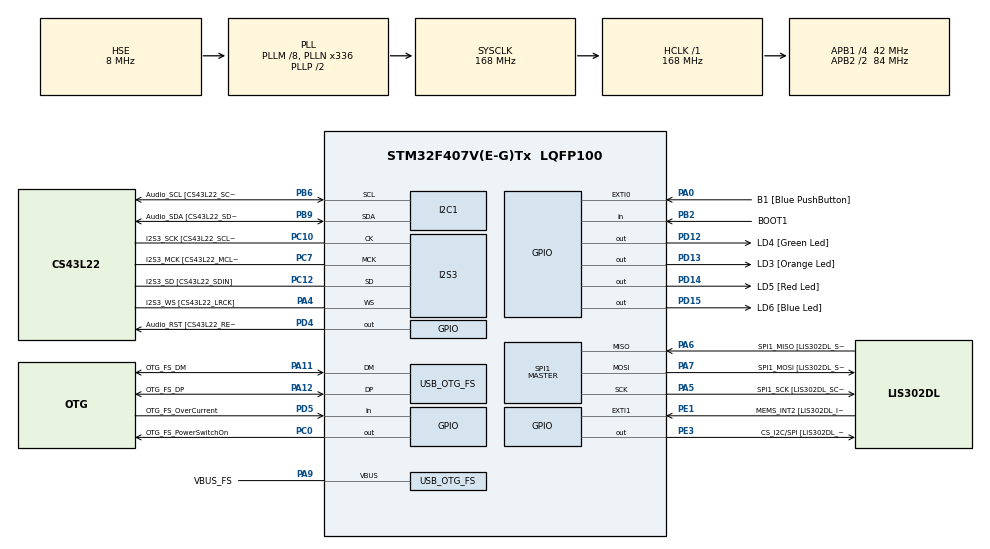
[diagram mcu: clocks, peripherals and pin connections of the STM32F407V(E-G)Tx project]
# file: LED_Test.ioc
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I2S3.AudioFreq-Half_Duplex_Master=I2S_AUDIOFREQ_96K
I2S3.ErrorAudioFreq=-2.34 %
I2S3.ErrorAudioFreq-Half_Duplex_Master=0.8 %
I2S3.FullDuplexMode=I2S_FULLDUPLEXMODE_DISABLE
I2S3.Instance=SPI$Index
I2S3.RealAudioFreq=93.75 KHz
I2S3.RealAudioFreq-Half_Duplex_Master=96.774 KHz
I2S3.VirtualMode=I2S_MODE_MASTER
Mcu.Family=STM32F4
Mcu.Name=STM32F407V(E-G)Tx
Mcu.Package=LQFP100
NVIC.OTG_FS_IRQn=true\:0\:0\:false\:false\:true\:true\:true
NVIC.PriorityGroup=NVIC_PRIORITYGROUP_0
PA0-WKUP.GPIO_Label=B1 [Blue PushButton]
PA0-WKUP.GPIO_ModeDefaultEXTI=GPIO_MODE_EVT_RISING
PA0-WKUP.GPIO_PuPd=GPIO_NOPULL
PA0-WKUP.Signal=GPXTI0
PA10.GPIO_Label=OTG_FS_ID
PA10.GPIO_Mode=GPIO_MODE_AF_PP
PA10.GPIO_PuPd=GPIO_NOPULL
PA10.GPIO_Speed=GPIO_SPEED_FREQ_LOW
PA10.Signal=USB_OTG_FS_ID
PA11.GPIO_Label=OTG_FS_DM
PA11.GPIO_Mode=GPIO_MODE_AF_PP
PA11.GPIO_PuPd=GPIO_NOPULL
PA11.GPIO_Speed=GPIO_SPEED_FREQ_LOW
PA11.Mode=Host_Only
PA11.Signal=USB_OTG_FS_DM
PA12.GPIO_Label=OTG_FS_DP
PA12.GPIO_Mode=GPIO_MODE_AF_PP
PA12.GPIO_PuPd=GPIO_NOPULL
PA12.GPIO_Speed=GPIO_SPEED_FREQ_LOW
PA12.Mode=Host_Only
PA12.Signal=USB_OTG_FS_DP
PA13.GPIO_Label=SWDIO
PA13.Mode=Serial_Wire
PA13.Signal=SYS_JTMS-SWDIO
PA14.GPIO_Label=SWCLK
PA14.Mode=Serial_Wire
PA14.Signal=SYS_JTCK-SWCLK
PA4.GPIO_Label=I2S3_WS [CS43L22_LRCK]
PA4.GPIO_Mode=GPIO_MODE_AF_PP
PA4.GPIO_PuPd=GPIO_NOPULL
PA4.GPIO_Speed=GPIO_SPEED_FREQ_LOW
PA4.Mode=Half_Duplex_Master
PA4.Signal=I2S3_WS
PA5.GPIO_Label=SPI1_SCK [LIS302DL_SCL/SPC]
PA5.GPIO_Mode=GPIO_MODE_AF_PP
PA5.GPIO_PuPd=GPIO_NOPULL
PA5.GPIO_Speed=GPIO_SPEED_FREQ_LOW
PA5.Mode=Full_Duplex_Master
PA5.Signal=SPI1_SCK
PA6.GPIO_Label=SPI1_MISO [LIS302DL_SDO]
PA6.GPIO_Mode=GPIO_MODE_AF_PP
PA6.GPIO_PuPd=GPIO_NOPULL
PA6.GPIO_Speed=GPIO_SPEED_FREQ_LOW
PA6.Mode=Full_Duplex_Master
PA6.Signal=SPI1_MISO
PA7.GPIO_Label=SPI1_MOSI [LIS302DL_SDA/SDI/SDO]
PA7.GPIO_Mode=GPIO_MODE_AF_PP
PA7.GPIO_PuPd=GPIO_NOPULL
PA7.GPIO_Speed=GPIO_SPEED_FREQ_LOW
PA7.Mode=Full_Duplex_Master
PA7.Signal=SPI1_MOSI
PA9.GPIO_Label=VBUS_FS
PA9.GPIO_Mode=GPIO_MODE_INPUT
PA9.GPIO_PuPd=GPIO_NOPULL
PA9.Mode=Activate_VBUS
PA9.Signal=USB_OTG_FS_VBUS
PB10.GPIO_Label=CLK_IN [MP45DT02_CLK]
PB10.GPIO_Mode=GPIO_MODE_AF_PP
PB10.GPIO_PuPd=GPIO_NOPULL
PB10.GPIO_Speed=GPIO_SPEED_FREQ_LOW
PB10.Signal=I2S2_CK
PB2.GPIO_Label=BOOT1
PB2.GPIO_Mode=GPIO_MODE_INPUT
PB2.GPIO_PuPd=GPIO_NOPULL
PB2.Signal=GPIO_Input
PB3.GPIO_Label=SWO
PB3.Signal=SYS_JTDO-SWO
PB6.GPIO_Label=Audio_SCL [CS43L22_SCL]
PB6.GPIO_Mode=GPIO_MODE_AF_OD
PB6.GPIO_PuPd=GPIO_NOPULL
PB6.GPIO_Speed=GPIO_SPEED_FREQ_LOW
PB6.Mode=I2C
PB6.Signal=I2C1_SCL
PB9.GPIO_Label=Audio_SDA [CS43L22_SDA]
PB9.GPIO_Mode=GPIO_MODE_AF_OD
PB9.GPIO_PuPd=GPIO_NOPULL
PB9.GPIO_Speed=GPIO_SPEED_FREQ_LOW
PB9.Mode=I2C
PB9.Signal=I2C1_SDA
PC0.GPIO_Label=OTG_FS_PowerSwitchOn
PC0.GPIO_PuPd=GPIO_NOPULL
PC0.GPIO_Speed=GPIO_SPEED_FREQ_LOW
PC0.PinState=GPIO_PIN_SET
PC0.Signal=GPIO_Output
PC10.GPIO_Label=I2S3_SCK [CS43L22_SCLK]
PC10.GPIO_Mode=GPIO_MODE_AF_PP
PC10.GPIO_PuPd=GPIO_NOPULL
PC10.GPIO_Speed=GPIO_SPEED_FREQ_LOW
PC10.Mode=Half_Duplex_Master
PC10.Signal=I2S3_CK
PC12.GPIO_Label=I2S3_SD [CS43L22_SDIN]
PC12.GPIO_Mode=GPIO_MODE_AF_PP
PC12.GPIO_PuPd=GPIO_NOPULL
PC12.GPIO_Speed=GPIO_SPEED_FREQ_LOW
PC12.Mode=Half_Duplex_Master
PC12.Signal=I2S3_SD
PC14-OSC32_IN.GPIO_Label=PC14-OSC32_IN
PC14-OSC32_IN.Mode=LSE-External-Oscillator
PC14-OSC32_IN.Signal=RCC_OSC32_IN
PC15-OSC32_OUT.GPIO_Label=PC15-OSC32_OUT
PC15-OSC32_OUT.Mode=LSE-External-Oscillator
PC15-OSC32_OUT.Signal=RCC_OSC32_OUT
PC3.GPIO_Label=PDM_OUT [MP45DT02_DOUT]
PC3.GPIO_Mode=GPIO_MODE_AF_PP
PC3.GPIO_PuPd=GPIO_NOPULL
PC3.GPIO_Speed=GPIO_SPEED_FREQ_LOW
PC3.Signal=I2S2_SD
PC7.GPIO_Label=I2S3_MCK [CS43L22_MCLK]
PC7.GPIO_Mode=GPIO_MODE_AF_PP
PC7.GPIO_PuPd=GPIO_NOPULL
PC7.GPIO_Speed=GPIO_SPEED_FREQ_LOW
PC7.Mode=Master_Clock_Activated
PC7.Signal=I2S3_MCK
PD12.GPIO_Label=LD4 [Green Led]
PD12.GPIO_PuPd=GPIO_NOPULL
PD12.GPIO_Speed=GPIO_SPEED_FREQ_LOW
PD12.Signal=GPIO_Output
PD13.GPIO_Label=LD3 [Orange Led]
PD13.GPIO_PuPd=GPIO_NOPULL
PD13.GPIO_Speed=GPIO_SPEED_FREQ_LOW
PD13.Signal=GPIO_Output
PD14.GPIO_Label=LD5 [Red Led]
PD14.GPIO_PuPd=GPIO_NOPULL
PD14.GPIO_Speed=GPIO_SPEED_FREQ_LOW
PD14.Signal=GPIO_Output
PD15.GPIO_Label=LD6 [Blue Led]
PD15.GPIO_PuPd=GPIO_NOPULL
PD15.GPIO_Speed=GPIO_SPEED_FREQ_LOW
PD15.Signal=GPIO_Output
PD4.GPIO_Label=Audio_RST [CS43L22_RESET]
PD4.GPIO_PuPd=GPIO_NOPULL
PD4.GPIO_Speed=GPIO_SPEED_FREQ_LOW
PD4.Signal=GPIO_Output
PD5.GPIO_Label=OTG_FS_OverCurrent
PD5.GPIO_Mode=GPIO_MODE_INPUT
PD5.GPIO_PuPd=GPIO_NOPULL
PD5.Signal=GPIO_Input
PE1.GPIO_Label=MEMS_INT2 [LIS302DL_INT2]
PE1.GPIO_ModeDefaultEXTI=GPIO_MODE_EVT_RISING
PE1.GPIO_PuPd=GPIO_NOPULL
PE1.Signal=GPXTI1
PE3.GPIO_Label=CS_I2C/SPI [LIS302DL_CS_I2C/SPI]
PE3.GPIO_PuPd=GPIO_NOPULL
PE3.GPIO_Speed=GPIO_SPEED_FREQ_LOW
PE3.Signal=GPIO_Output
PH0-OSC_IN.GPIO_Label=PH0-OSC_IN
PH0-OSC_IN.Mode=HSE-External-Oscillator
PH0-OSC_IN.Signal=RCC_OSC_IN
PH1-OSC_OUT.GPIO_Label=PH1-OSC_OUT
PH1-OSC_OUT.Mode=HSE-External-Oscillator
PH1-OSC_OUT.Signal=RCC_OSC_OUT
ProjectManager.HeapSize=0x200
ProjectManager.StackSize=0x400
ProjectManager.TargetToolchain=TrueSTUDIO
RCC.48MHZClocksFreq_Value=48000000
RCC.AHBFreq_Value=168000000
RCC.APB1CLKDivider=RCC_HCLK_DIV4
RCC.APB1Freq_Value=42000000
RCC.APB1TimFreq_Value=84000000
RCC.APB2CLKDivider=RCC_HCLK_DIV2
RCC.APB2Freq_Value=84000000
RCC.APB2TimFreq_Value=168000000
RCC.CortexFreq_Value=168000000
RCC.HCLKFreq_Value=168000000
RCC.HSE_VALUE=8000000
RCC.HSI_VALUE=16000000
RCC.PLLM=8
RCC.PLLN=336
RCC.PLLQ=7
RCC.SYSCLKFreq_VALUE=168000000
RCC.SYSCLKSource=RCC_SYSCLKSOURCE_PLLCLK
RCC.VCOOutputFreq_Value=336000000
SPI1.BaudRatePrescaler-Full_Duplex_Master=SPI_BAUDRATEPRESCALER_2
SPI1.CalculateBaudRate-Full_Duplex_Master=42.0 MBits/s
SPI1.Direction=SPI_DIRECTION_2LINES
SPI1.Mode=SPI_MODE_MASTER
SPI1.Mode-Full_Duplex_Master=SPI_MODE_MASTER
SPI1.VirtualType=VM_MASTER
USB_HOST.BSP.number=1
USB_HOST.USBH_HandleTypeDef-CDC_FS=hUsbHostFS
USB_HOST.VirtualModeFS=Cdc
USB_HOST0.BSP.STBoard=false
USB_HOST0.BSP.api=Unknown
USB_HOST0.BSP.i2caddr=0
USB_HOST0.BSP.i2creg=0
USB_HOST0.BSP.instance=PC0
USB_HOST0.BSP.ip=GPIO
USB_HOST0.BSP.mode=Output
USB_HOST0.BSP.name=Drive_VBUS_FS
USB_HOST0.BSP.solution=PC0
USB_OTG_FS.VirtualMode=Host_Only
USB_OTG_FS.phy_itface=HCD_PHY_EMBEDDED
VP_USB_HOST_VS_USB_HOST_CDC_FS.Mode=CDC_FS
board=STM32F407G-DISC1

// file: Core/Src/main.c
/* USER CODE BEGIN Header */
/**
  ******************************************************************************
  * @file           : main.c
  * @brief          : Main program body
  ******************************************************************************
  * @attention
  *
  * <h2><center>&copy; Copyright (c) 2020 STMicroelectronics.
  * All rights reserved.</center></h2>
  *
  * This software component is licensed by ST under Ultimate Liberty license
  * SLA0044, the "License"; You may not use this file except in compliance with
  * the License. You may obtain a copy of the License at:
  *                             www.st.com/SLA0044
  *
  ******************************************************************************
  */
/* USER CODE END Header */
#include "main.h"
#include "i2c.h"
#include "i2s.h"
#include "spi.h"
#include "usb_host.h"
#include "gpio.h"

void SystemClock_Config(void);
void MX_USB_HOST_Process(void);

int main(void)
{

  /* MCU Configuration--------------------------------------------------------*/

  /* Reset of all peripherals, Initializes the Flash interface and the Systick. */
  HAL_Init();

  /* Configure the system clock */
  SystemClock_Config();

  /* Initialize all configured peripherals */
  MX_GPIO_Init();
  MX_I2C1_Init();
  MX_I2S3_Init();
  MX_SPI1_Init();
  MX_USB_HOST_Init();
  /* USER CODE BEGIN 2 */
  HAL_GPIO_WritePin(GPIOD,GPIO_PIN_12,RESET);
  HAL_GPIO_WritePin(GPIOD,GPIO_PIN_13,RESET);
  HAL_GPIO_WritePin(GPIOD,GPIO_PIN_14,RESET);
  HAL_GPIO_WritePin(GPIOD,GPIO_PIN_15,RESET);
  /* USER CODE END 2 */

  /* Infinite loop */
  /* USER CODE BEGIN WHILE */
  while (1)
  {
	for(;HAL_GPIO_ReadPin(GPIOA,GPIO_PIN_0)==GPIO_PIN_SET;)
	{
		HAL_GPIO_WritePin(GPIOD,GPIO_PIN_12,SET);
		HAL_Delay(50);
		HAL_GPIO_WritePin(GPIOD,GPIO_PIN_12,RESET);

		HAL_GPIO_WritePin(GPIOD,GPIO_PIN_13,SET);
		HAL_Delay(50);
		HAL_GPIO_WritePin(GPIOD,GPIO_PIN_13,RESET);

		HAL_GPIO_WritePin(GPIOD,GPIO_PIN_14,SET);
		HAL_Delay(50);
		HAL_GPIO_WritePin(GPIOD,GPIO_PIN_14,RESET);

		HAL_GPIO_WritePin(GPIOD,GPIO_PIN_15,SET);
		HAL_Delay(50);
		HAL_GPIO_WritePin(GPIOD,GPIO_PIN_15,RESET);
	}
	/* USER CODE END WHILE */
    MX_USB_HOST_Process();

  }
}

void SystemClock_Config(void)
{
  RCC_OscInitTypeDef RCC_OscInitStruct = {0};
  RCC_ClkInitTypeDef RCC_ClkInitStruct = {0};
  RCC_PeriphCLKInitTypeDef PeriphClkInitStruct = {0};

  /** Configure the main internal regulator output voltage
  */
  __HAL_RCC_PWR_CLK_ENABLE();
  __HAL_PWR_VOLTAGESCALING_CONFIG(PWR_REGULATOR_VOLTAGE_SCALE1);
  /** Initializes the RCC Oscillators according to the specified parameters
  * in the RCC_OscInitTypeDef structure.
  */
  RCC_OscInitStruct.OscillatorType = RCC_OSCILLATORTYPE_HSE;
  RCC_OscInitStruct.HSEState = RCC_HSE_ON;
  RCC_OscInitStruct.PLL.PLLState = RCC_PLL_ON;
  RCC_OscInitStruct.PLL.PLLSource = RCC_PLLSOURCE_HSE;
  RCC_OscInitStruct.PLL.PLLM = 8;
  RCC_OscInitStruct.PLL.PLLN = 336;
  RCC_OscInitStruct.PLL.PLLP = RCC_PLLP_DIV2;
  RCC_OscInitStruct.PLL.PLLQ = 7;
  if (HAL_RCC_OscConfig(&RCC_OscInitStruct) != HAL_OK)
  {
    Error_Handler();
  }
  /** Initializes the CPU, AHB and APB buses clocks
  */
  RCC_ClkInitStruct.ClockType = RCC_CLOCKTYPE_HCLK|RCC_CLOCKTYPE_SYSCLK
                              |RCC_CLOCKTYPE_PCLK1|RCC_CLOCKTYPE_PCLK2;
  RCC_ClkInitStruct.SYSCLKSource = RCC_SYSCLKSOURCE_PLLCLK;
  RCC_ClkInitStruct.AHBCLKDivider = RCC_SYSCLK_DIV1;
  RCC_ClkInitStruct.APB1CLKDivider = RCC_HCLK_DIV4;
  RCC_ClkInitStruct.APB2CLKDivider = RCC_HCLK_DIV2;

  if (HAL_RCC_ClockConfig(&RCC_ClkInitStruct, FLASH_LATENCY_5) != HAL_OK)
  {
    Error_Handler();
  }
  PeriphClkInitStruct.PeriphClockSelection = RCC_PERIPHCLK_I2S;
  PeriphClkInitStruct.PLLI2S.PLLI2SN = 192;
  PeriphClkInitStruct.PLLI2S.PLLI2SR = 2;
  if (HAL_RCCEx_PeriphCLKConfig(&PeriphClkInitStruct) != HAL_OK)
  {
    Error_Handler();
  }
}

void Error_Handler(void)
{
}

/************************ (C) COPYRIGHT STMicroelectronics *****END OF FILE****/
